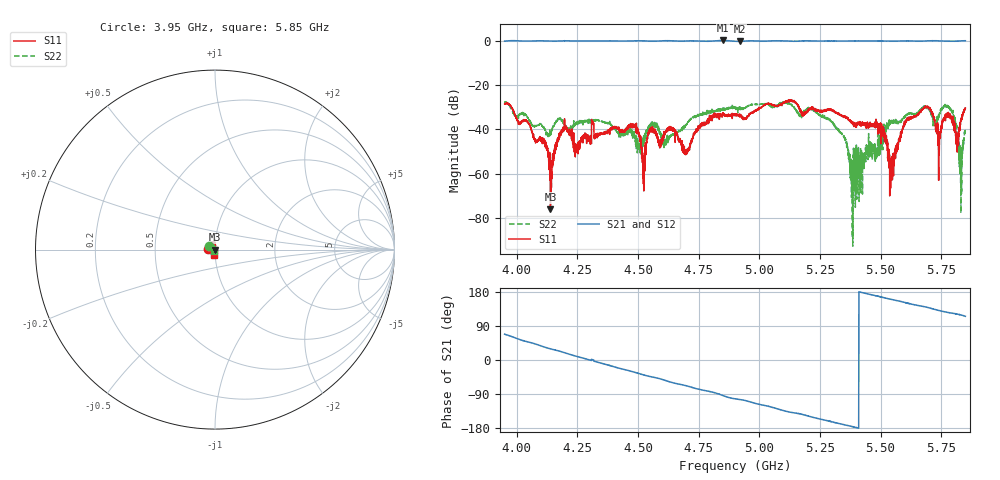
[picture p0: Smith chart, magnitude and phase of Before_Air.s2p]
# GHZ S RI R 50.000000000000
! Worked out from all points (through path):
!   4501 points, 3.95 GHz to 5.85 GHz, reference 50 ohm
!   highest |S21| = 0.20 dB at 4.851 GHz (marker M1); lowest = -0.3 dB at 4.919 GHz (marker M2)
!   group delay of S21, straight-line fit = 451 ps
!   lowest |S11| = -76.0 dB at 4.139 GHz (marker M3), VSWR 1.00, Z = 50 - j0.0152 ohm
!   |S11| at or under -10 dB: start of sweep to end of sweep
!   |S22| runs from -92.7 to -27.5 dB; largest |S21 - S12| = 0.057
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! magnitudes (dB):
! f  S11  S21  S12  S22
! 3.95 GHz  -28.5  -0.1  -0.1  -28.0
! 4.139 GHz  -76.0  -0.1  -0.1  -41.3
! 4.189 GHz  -41.2  0.0  0.0  -35.8
! 4.267 GHz  -45.2  0.0  0.0  -36.4
! 4.505 GHz  -43.4  0.0  0.1  -48.0
! 4.524 GHz  -67.8  0.0  0.1  -42.4
! 4.55 GHz  -39.6  -0.1  -0.1  -37.8
! 4.584 GHz  -46.0  -0.1  -0.1  -40.4
! 4.698 GHz  -51.0  0.0  0.0  -38.3
! 4.851 GHz  -32.4  0.2  0.2  -30.2
! 4.9 GHz  -33.9  -0.2  -0.1  -30.3
! 4.919 GHz  -33.1  -0.3  -0.2  -28.9
! 5.217 GHz  -29.8  0.0  0.0  -30.2
! 5.347 GHz  -34.1  -0.1  -0.1  -42.9
! 5.383 GHz  -37.3  0.0  -0.1  -69.3
! 5.495 GHz  -39.0  -0.1  0.0  -45.5
! 5.534 GHz  -50.5  -0.1  0.0  -37.8
! 5.678 GHz  -30.4  -0.1  -0.1  -29.7
! 5.74 GHz  -45.2  0.0  0.0  -33.8
! 5.784 GHz  -33.9  -0.1  -0.2  -30.4
! 5.831 GHz  -35.8  0.0  0.0  -64.8
! 5.85 GHz  -30.3  0.1  0.1  -40.5
